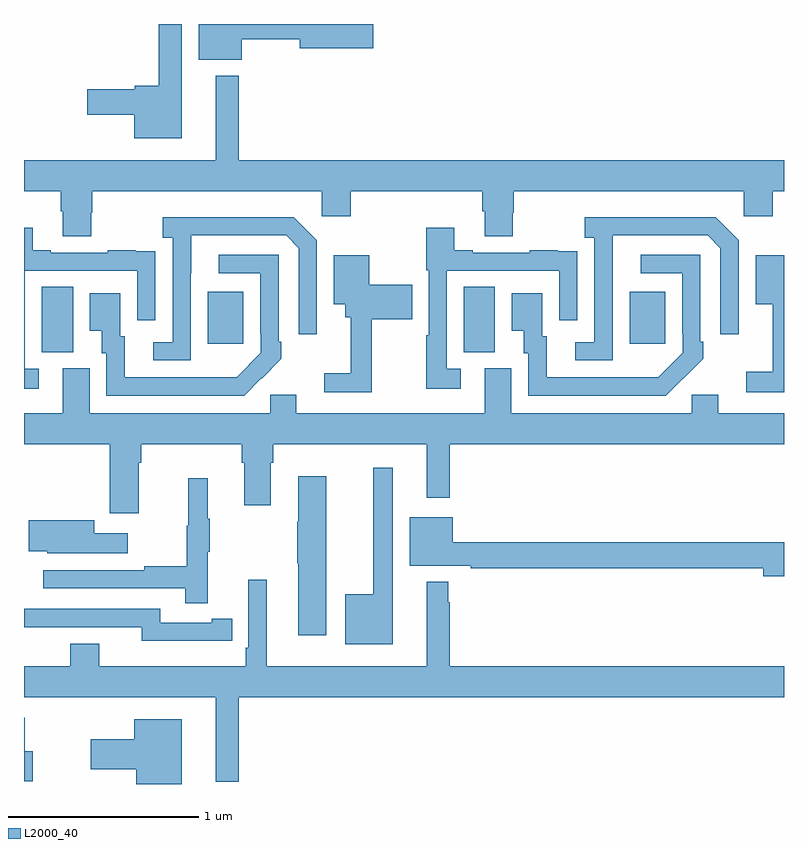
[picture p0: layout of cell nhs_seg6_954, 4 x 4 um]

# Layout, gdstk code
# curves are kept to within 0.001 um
import gdstk
lib = gdstk.Library(unit=1e-6, precision=1e-09)
def R(c, l, rs):  # rectangles x0, y0, x1, y1
    for r in rs: c.add(gdstk.rectangle(r[:2], r[2:], *l))
def P(c, l, *ps):  # polygons
    for p in ps: c.add(gdstk.Polygon(p, *l))
L2000_40 = (2000, 40)

nhs_seg6_954 = lib.new_cell('nhs_seg6_954')
R(nhs_seg6_954, L2000_40, [(169.094,995.773,169.258,996.116), (171.314,995.773,171.478,996.116), (169.967,995.817,170.155,996.091), (172.187,995.817,172.375,996.091)])
P(nhs_seg6_954, L2000_40, [(170.146,997.42),(170.45,997.42),(170.45,997.373),(170.839,997.373),(170.839,997.5),(169.919,997.5),(169.919,997.313),(170.146,997.313)],
  [(169.831,997.5),(169.71,997.5),(169.71,997.175),(169.584,997.175),(169.584,997.157),(169.332,997.157),(169.332,997.022),(169.58,997.022),(169.58,996.899),(169.831,996.899)],
  [(169.353,996.507),(169.358,996.507),(169.358,996.62),(170.568,996.62),(170.568,996.489),(170.72,996.489),(170.72,996.62),(171.413,996.62),(171.413,996.514),(171.425,996.514),(171.425,996.382),(171.573,996.382),(171.573,996.507),(171.578,996.507),(171.578,996.62),(172.788,996.62),(172.788,996.489),(172.94,996.489),(172.94,996.62),(173,996.62),(173,996.784),(170.131,996.784),(170.131,997.228),(170.009,997.228),(170.009,996.784),(169,996.784),(169,996.62),(169.193,996.62),(169.193,996.514),(169.205,996.514),(169.205,996.382),(169.353,996.382)],
  [(172.098,996.187),(172.099,996.387),(172.599,996.387),(172.665,996.321),(172.665,995.868),(172.761,995.868),(172.761,996.363),(172.64,996.484),(171.951,996.484),(171.951,996.374),(172.002,996.374),(172.002,995.826),(171.9,995.826),(171.9,995.73),(172.098,995.73)],
  [(169.878,996.187),(169.879,996.387),(170.379,996.387),(170.445,996.321),(170.445,995.868),(170.541,995.868),(170.541,996.363),(170.42,996.484),(169.731,996.484),(169.731,996.374),(169.782,996.374),(169.782,995.826),(169.68,995.826),(169.68,995.73),(169.878,995.73)],
  [(169.078,995.685),(169.005,995.685),(169.005,996.201),(169.596,996.201),(169.596,995.94),(169.692,995.94),(169.692,996.194),(169.691,996.194),(169.691,996.303),(169.589,996.303),(169.589,996.31),(169.441,996.31),(169.441,996.297),(169.141,996.297),(169.141,996.31),(169.045,996.31),(169.045,996.427),(169,996.427),(169,995.58),(169.078,995.58)],
  [(171.298,995.685),(171.225,995.685),(171.225,996.201),(171.816,996.201),(171.816,995.94),(171.912,995.94),(171.912,996.194),(171.911,996.194),(171.911,996.303),(171.809,996.303),(171.809,996.31),(171.661,996.31),(171.661,996.297),(171.361,996.297),(171.361,996.31),(171.265,996.31),(171.265,996.427),(171.116,996.427),(171.116,996.204),(171.129,996.204),(171.129,995.861),(171.117,995.861),(171.117,995.58),(171.298,995.58)],
  [(170.249,995.635),(170.25,995.634),(170.355,995.739),(170.355,995.827),(170.34,995.827),(170.34,996.285),(170.025,996.285),(170.025,996.189),(170.244,996.189),(170.244,995.869),(170.247,995.869),(170.247,995.769),(170.119,995.641),(169.531,995.64),(169.531,995.856),(169.507,995.856),(169.507,996.082),(169.346,996.082),(169.346,995.885),(169.409,995.885),(169.409,995.766),(169.434,995.766),(169.434,995.544),(170.158,995.544)],
  [(172.469,995.635),(172.47,995.634),(172.575,995.739),(172.575,995.827),(172.56,995.827),(172.56,996.285),(172.245,996.285),(172.245,996.189),(172.464,996.189),(172.464,995.869),(172.467,995.869),(172.467,995.769),(172.339,995.641),(171.751,995.64),(171.751,995.856),(171.727,995.856),(171.727,996.082),(171.566,996.082),(171.566,995.885),(171.629,995.885),(171.629,995.766),(171.654,995.766),(171.654,995.544),(172.378,995.544)],
  [(173,996.283),(172.85,996.283),(172.85,996.026),(172.94,996.026),(172.94,995.671),(172.8,995.671),(172.8,995.562),(173,995.562)],
  [(170.83,995.945),(171.043,995.945),(171.043,996.128),(170.818,996.128),(170.818,996.283),(170.63,996.283),(170.63,996.026),(170.69,996.026),(170.69,995.957),(170.72,995.957),(170.72,995.663),(170.58,995.663),(170.58,995.562),(170.83,995.562)],
  [(169.345,995.688),(169.205,995.688),(169.205,995.452),(169,995.452),(169,995.288),(169.451,995.288),(169.451,994.926),(169.603,994.926),(169.603,995.192),(169.616,995.192),(169.616,995.288),(170.147,995.288),(170.147,995.192),(170.159,995.192),(170.159,994.968),(170.299,994.968),(170.299,995.192),(170.312,995.192),(170.312,995.288),(171.119,995.288),(171.119,995.007),(171.241,995.007),(171.241,995.288),(173,995.288),(173,995.452),(172.654,995.452),(172.654,995.55),(172.515,995.55),(172.515,995.452),(171.565,995.452),(171.565,995.688),(171.425,995.688),(171.425,995.452),(170.434,995.452),(170.434,995.55),(170.295,995.55),(170.295,995.452),(169.345,995.452)],
  [(170.941,995.164),(170.837,995.164),(170.837,994.498),(170.69,994.498),(170.69,994.235),(170.941,994.235)],
  [(170.59,995.119),(170.444,995.119),(170.444,994.88),(170.437,994.88),(170.437,994.663),(170.444,994.663),(170.444,994.284),(170.59,994.284)],
  [(169.967,994.723),(169.978,994.723),(169.978,994.897),(169.967,994.897),(169.967,995.11),(169.864,995.11),(169.864,994.86),(169.857,994.86),(169.857,994.646),(169.633,994.646),(169.633,994.626),(169.101,994.626),(169.101,994.53),(169.849,994.53),(169.849,994.452),(169.967,994.452)],
  [(173,994.772),(171.256,994.772),(171.256,994.903),(171.029,994.903),(171.029,994.649),(171.352,994.649),(171.352,994.636),(172.892,994.636),(172.892,994.594),(173,994.594)],
  [(169.546,994.819),(169.369,994.819),(169.369,994.888),(169.025,994.888),(169.025,994.724),(169.122,994.724),(169.122,994.715),(169.546,994.715)],
  [(170.131,993.956),(173,993.956),(173,994.12),(171.241,994.12),(171.241,994.457),(171.234,994.457),(171.234,994.564),(171.119,994.564),(171.119,994.12),(170.278,994.12),(170.278,994.576),(170.181,994.576),(170.181,994.216),(170.168,994.216),(170.168,994.12),(169.396,994.12),(169.396,994.237),(169.244,994.237),(169.244,994.12),(169,994.12),(169,993.956),(170.009,993.956),(170.009,993.512),(170.131,993.512)],
  [(169.988,994.254),(170.096,994.254),(170.096,994.37),(169.988,994.37),(169.988,994.35),(169.716,994.35),(169.716,994.422),(169,994.422),(169,994.325),(169.16,994.325),(169.16,994.326),(169.62,994.326),(169.62,994.253),(169.988,994.253)],
  [(169.045,993.673),(169.003,993.673),(169.003,993.85),(169,993.85),(169,993.515),(169.045,993.515)],
  [(169.831,993.841),(169.58,993.841),(169.58,993.736),(169.35,993.736),(169.35,993.578),(169.592,993.578),(169.592,993.5),(169.831,993.5)])

lib.write_gds('nhs_seg6_954.gds')
